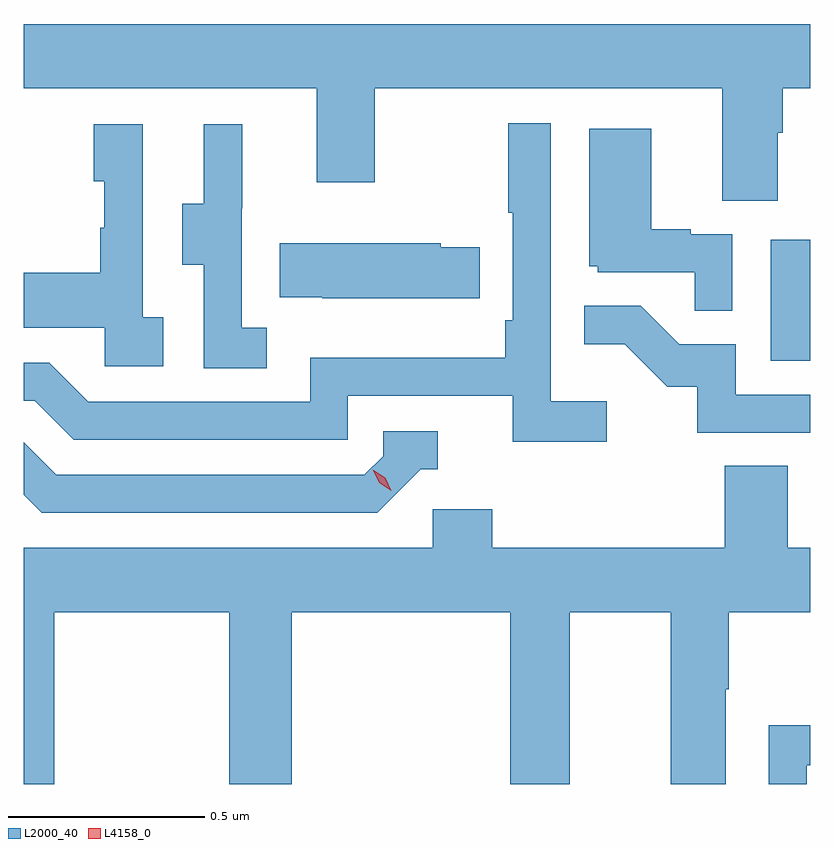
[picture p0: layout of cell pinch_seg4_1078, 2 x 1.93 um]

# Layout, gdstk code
import gdstk
lib = gdstk.Library(unit=1e-6, precision=1e-09)
def R(c, l, rs):  # rectangles x0, y0, x1, y1
    for r in rs: c.add(gdstk.rectangle(r[:2], r[2:], *l))
def P(c, l, *ps):  # polygons
    for p in ps: c.add(gdstk.Polygon(p, *l))
L2000_40 = (2000, 40)
L4158_0 = (4158, 0)

pinch_seg4_1078 = lib.new_cell('pinch_seg4_1078')
R(pinch_seg4_1078, L2000_40, [(883.754,762.828,883.854,763.135)])
P(pinch_seg4_1078, L2000_40, [(881.854,763.52),(882.599,763.52),(882.599,763.281),(882.747,763.281),(882.747,763.52),(883.631,763.52),(883.631,763.234),(883.771,763.234),(883.771,763.408),(883.784,763.408),(883.784,763.52),(883.854,763.52),(883.854,763.684),(881.854,763.684)],
  [(883.336,762.724),(883.194,762.724),(883.194,763.432),(883.086,763.432),(883.086,763.204),(883.098,763.204),(883.098,762.931),(883.078,762.931),(883.078,762.835),(882.582,762.835),(882.582,762.723),(882.018,762.723),(881.919,762.822),(881.854,762.822),(881.854,762.726),(881.882,762.726),(881.981,762.627),(882.678,762.627),(882.678,762.738),(883.097,762.738),(883.097,762.622),(883.336,762.622)],
  [(882.472,762.911),(882.408,762.911),(882.408,763.215),(882.41,763.215),(882.41,763.429),(882.311,763.429),(882.311,763.227),(882.257,763.227),(882.257,763.072),(882.312,763.072),(882.312,762.808),(882.472,762.808)],
  [(882.208,762.938),(882.156,762.938),(882.156,763.429),(882.032,763.429),(882.032,763.284),(882.058,763.284),(882.058,763.166),(882.048,763.166),(882.048,763.051),(881.854,763.051),(881.854,762.911),(882.06,762.911),(882.06,762.813),(882.208,762.813)],
  [(883.656,763.149),(883.55,763.149),(883.55,763.162),(883.45,763.162),(883.45,763.417),(883.292,763.417),(883.292,763.068),(883.314,763.068),(883.314,763.053),(883.561,763.053),(883.561,762.955),(883.656,762.955)],
  [(883.013,763.116),(882.915,763.116),(882.915,763.126),(882.505,763.126),(882.505,762.989),(882.613,762.989),(882.613,762.986),(883.013,762.986)],
  [(883.854,762.741),(883.665,762.741),(883.665,762.87),(883.521,762.87),(883.423,762.968),(883.279,762.968),(883.279,762.869),(883.383,762.869),(883.49,762.762),(883.567,762.762),(883.567,762.645),(883.854,762.645)],
  [(882.864,762.552),(882.907,762.552),(882.907,762.648),(882.768,762.648),(882.768,762.585),(882.72,762.537),(881.937,762.537),(881.854,762.62),(881.854,762.487),(881.9,762.441),(882.753,762.441)],
  [(881.931,762.188),(882.376,762.188),(882.376,761.751),(882.536,761.751),(882.536,762.188),(883.091,762.188),(883.091,761.751),(883.243,761.751),(883.243,762.188),(883.499,762.188),(883.499,761.751),(883.639,761.751),(883.639,761.992),(883.647,761.992),(883.647,762.188),(883.854,762.188),(883.854,762.352),(883.797,762.352),(883.797,762.56),(883.637,762.56),(883.637,762.352),(883.046,762.352),(883.046,762.45),(882.894,762.45),(882.894,762.352),(881.854,762.352),(881.854,761.751),(881.931,761.751)],
  [(883.845,761.799),(883.854,761.799),(883.854,761.9),(883.749,761.9),(883.749,761.751),(883.845,761.751)])
P(pinch_seg4_1078, L4158_0, [(882.789,762.497),(882.758,762.517),(882.742,762.55),(882.742,762.55),(882.742,762.55),(882.773,762.53),(882.789,762.497),(882.789,762.497)])

lib.write_gds('pinch_seg4_1078.gds')
